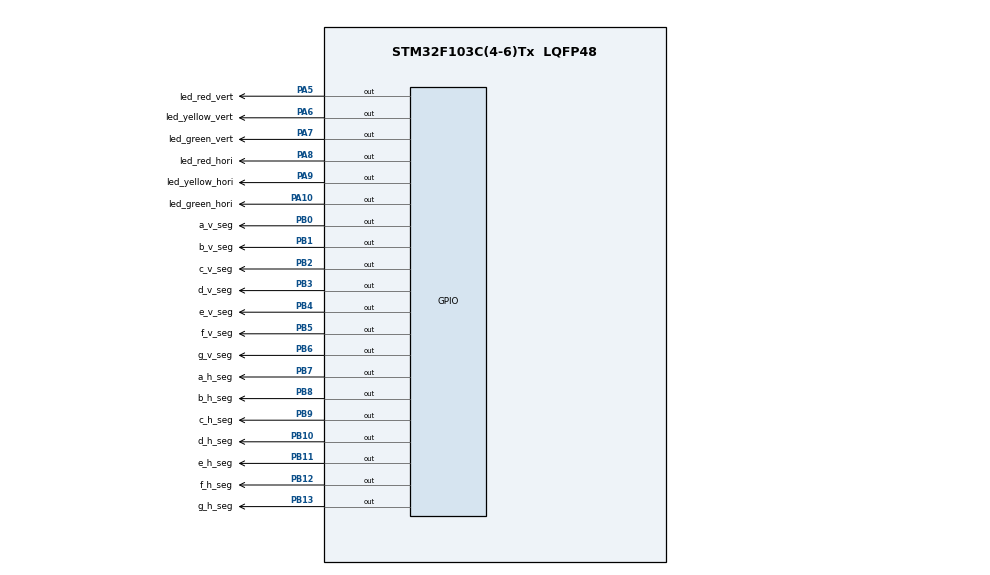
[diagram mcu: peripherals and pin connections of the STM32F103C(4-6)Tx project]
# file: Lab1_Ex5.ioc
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Mcu.Family=STM32F1
Mcu.Name=STM32F103C(4-6)Tx
Mcu.Package=LQFP48
NVIC.PriorityGroup=NVIC_PRIORITYGROUP_4
PA10.GPIO_Label=led_green_hori
PA10.Signal=GPIO_Output
PA5.GPIO_Label=led_red_vert
PA5.Signal=GPIO_Output
PA6.GPIO_Label=led_yellow_vert
PA6.Signal=GPIO_Output
PA7.GPIO_Label=led_green_vert
PA7.Signal=GPIO_Output
PA8.GPIO_Label=led_red_hori
PA8.Signal=GPIO_Output
PA9.GPIO_Label=led_yellow_hori
PA9.Signal=GPIO_Output
PB0.GPIO_Label=a_v_seg
PB0.Signal=GPIO_Output
PB1.GPIO_Label=b_v_seg
PB1.Signal=GPIO_Output
PB10.GPIO_Label=d_h_seg
PB10.Signal=GPIO_Output
PB11.GPIO_Label=e_h_seg
PB11.Signal=GPIO_Output
PB12.GPIO_Label=f_h_seg
PB12.Signal=GPIO_Output
PB13.GPIO_Label=g_h_seg
PB13.Signal=GPIO_Output
PB2.GPIO_Label=c_v_seg
PB2.Signal=GPIO_Output
PB3.GPIO_Label=d_v_seg
PB3.Signal=GPIO_Output
PB4.GPIO_Label=e_v_seg
PB4.Signal=GPIO_Output
PB5.GPIO_Label=f_v_seg
PB5.Signal=GPIO_Output
PB6.GPIO_Label=g_v_seg
PB6.Signal=GPIO_Output
PB7.GPIO_Label=a_h_seg
PB7.Signal=GPIO_Output
PB8.GPIO_Label=b_h_seg
PB8.Signal=GPIO_Output
PB9.GPIO_Label=c_h_seg
PB9.Signal=GPIO_Output
ProjectManager.HeapSize=0x200
ProjectManager.StackSize=0x400
ProjectManager.TargetToolchain=STM32CubeIDE
RCC.APB1Freq_Value=8000000
RCC.APB2Freq_Value=8000000
VP_SYS_VS_ND.Mode=No_Debug
board=custom

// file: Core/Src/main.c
/* USER CODE BEGIN Header */
/**
  ******************************************************************************
  * @file           : main.c
  * @brief          : Main program body
  ******************************************************************************
  * @attention
  *
  * <h2><center>&copy; Copyright (c) 2022 STMicroelectronics.
  * All rights reserved.</center></h2>
  *
  * This software component is licensed by ST under BSD 3-Clause license,
  * the "License"; You may not use this file except in compliance with the
  * License. You may obtain a copy of the License at:
  *                        opensource.org/licenses/BSD-3-Clause
  *
  ******************************************************************************
  */
/* USER CODE END Header */
#include "main.h"

void SystemClock_Config(void);
static void MX_GPIO_Init(void);
/* USER CODE BEGIN PFP */

void display7SEG(int num,
		GPIO_TypeDef* a_seg_GPIO_PORT, uint16_t a_seg_Pin,
		GPIO_TypeDef* b_seg_GPIO_PORT, uint16_t b_seg_Pin,
		GPIO_TypeDef* c_seg_GPIO_PORT, uint16_t c_seg_Pin,
		GPIO_TypeDef* d_seg_GPIO_PORT, uint16_t d_seg_Pin,
		GPIO_TypeDef* e_seg_GPIO_PORT, uint16_t e_seg_Pin,
		GPIO_TypeDef* f_seg_GPIO_PORT, uint16_t f_seg_Pin,
		GPIO_TypeDef* g_seg_GPIO_PORT, uint16_t g_seg_Pin);
char led_toggle(
		GPIO_TypeDef* red, uint16_t red_pin ,
		GPIO_TypeDef* yellow, uint16_t yellow_pin,
		GPIO_TypeDef* green, uint16_t green_pin,
		char color);

/* USER CODE END PFP */

int main(void)
{

  /* MCU Configuration--------------------------------------------------------*/

  /* Reset of all peripherals, Initializes the Flash interface and the Systick. */
  HAL_Init();

  /* Configure the system clock */
  SystemClock_Config();

  /* Initialize all configured peripherals */
  MX_GPIO_Init();

  /* Infinite loop */
  /* USER CODE BEGIN WHILE */
  int first_time_counter = 1;
  int counter_x = 0;
  int counter_y = 0;
  char color_x;
  char color_y;
  int first_time_light = 1;
  while (1)
  {
	  //Counter set
	  if(first_time_counter == 1)
	  {
		  counter_x = 9;
		  display7SEG(counter_y--,
				  a_v_seg_GPIO_Port, a_v_seg_Pin,
				  b_v_seg_GPIO_Port, b_v_seg_Pin,
				  c_v_seg_GPIO_Port, c_v_seg_Pin,
				  d_v_seg_GPIO_Port, d_v_seg_Pin,
				  e_v_seg_GPIO_Port, e_v_seg_Pin,
				  f_v_seg_GPIO_Port, f_v_seg_Pin,
				  g_v_seg_GPIO_Port, g_v_seg_Pin
				  );

		  counter_y = 6;
		  display7SEG(counter_x--,
				  a_h_seg_GPIO_Port, a_h_seg_Pin,
				  b_h_seg_GPIO_Port, b_h_seg_Pin,
				  c_h_seg_GPIO_Port, c_h_seg_Pin,
				  d_h_seg_GPIO_Port, d_h_seg_Pin,
				  e_h_seg_GPIO_Port, e_h_seg_Pin,
				  f_h_seg_GPIO_Port, f_h_seg_Pin,
				  g_h_seg_GPIO_Port, g_h_seg_Pin
				  );
		  first_time_counter = 0;
	  }
	  //Light
	  if(first_time_light == 1)
	  {
		  HAL_GPIO_TogglePin(led_yellow_vert_GPIO_Port, led_yellow_vert_Pin);
		  HAL_GPIO_TogglePin(led_green_vert_GPIO_Port, led_green_vert_Pin);
		  color_y = 'R';

		  HAL_GPIO_TogglePin(led_yellow_hori_GPIO_Port, led_yellow_hori_Pin);
		  HAL_GPIO_TogglePin(led_red_hori_GPIO_Port, led_red_hori_Pin);
		  color_x = 'G';

		  first_time_light = 0;
	  }
	  if(color_y == 'R')
	  {
		  counter_y = 9;
		  counter_x = 6;
		  for (int i = 0; i < 7; i++)
		  {
			  display7SEG(counter_y--,
					  a_v_seg_GPIO_Port, a_v_seg_Pin,
					  b_v_seg_GPIO_Port, b_v_seg_Pin,
					  c_v_seg_GPIO_Port, c_v_seg_Pin,
					  d_v_seg_GPIO_Port, d_v_seg_Pin,
					  e_v_seg_GPIO_Port, e_v_seg_Pin,
					  f_v_seg_GPIO_Port, f_v_seg_Pin,
					  g_v_seg_GPIO_Port, g_v_seg_Pin
					  );
			  display7SEG(counter_x--,
					  a_h_seg_GPIO_Port, a_h_seg_Pin,
					  b_h_seg_GPIO_Port, b_h_seg_Pin,
					  c_h_seg_GPIO_Port, c_h_seg_Pin,
					  d_h_seg_GPIO_Port, d_h_seg_Pin,
					  e_h_seg_GPIO_Port, e_h_seg_Pin,
					  f_h_seg_GPIO_Port, f_h_seg_Pin,
					  g_h_seg_GPIO_Port, g_h_seg_Pin
					  );
			  HAL_Delay(1000);
		  }
		  color_x = led_toggle(
				  led_red_hori_GPIO_Port, led_red_hori_Pin,
				  led_yellow_hori_GPIO_Port, led_yellow_hori_Pin,
				  led_green_hori_GPIO_Port, led_green_hori_Pin,
				  color_x);
		  counter_x = 2;
		  for (int i = 0; i < 3; i++)
		  {
			  display7SEG(counter_y--,
					  a_v_seg_GPIO_Port, a_v_seg_Pin,
					  b_v_seg_GPIO_Port, b_v_seg_Pin,
					  c_v_seg_GPIO_Port, c_v_seg_Pin,
					  d_v_seg_GPIO_Port, d_v_seg_Pin,
					  e_v_seg_GPIO_Port, e_v_seg_Pin,
					  f_v_seg_GPIO_Port, f_v_seg_Pin,
					  g_v_seg_GPIO_Port, g_v_seg_Pin
					  );
			  display7SEG(counter_x--,
					  a_h_seg_GPIO_Port, a_h_seg_Pin,
					  b_h_seg_GPIO_Port, b_h_seg_Pin,
					  c_h_seg_GPIO_Port, c_h_seg_Pin,
					  d_h_seg_GPIO_Port, d_h_seg_Pin,
					  e_h_seg_GPIO_Port, e_h_seg_Pin,
					  f_h_seg_GPIO_Port, f_h_seg_Pin,
					  g_h_seg_GPIO_Port, g_h_seg_Pin
					  );
			  HAL_Delay(1000);
		  }
		  color_x = led_toggle(
				  led_red_hori_GPIO_Port, led_red_hori_Pin,
				  led_yellow_hori_GPIO_Port, led_yellow_hori_Pin,
				  led_green_hori_GPIO_Port, led_green_hori_Pin,
				  color_x);
		  color_y = led_toggle(
				  led_red_vert_GPIO_Port, led_red_vert_Pin,
				  led_yellow_vert_GPIO_Port, led_yellow_vert_Pin,
				  led_green_vert_GPIO_Port, led_green_vert_Pin,
				  color_y);
	  }
	  else if (color_x == 'R')
	  {
		  counter_x = 9;
		  counter_y = 6;
		  for (int i = 0; i < 7; i++)
		  {
			  display7SEG(counter_y--,
					  a_v_seg_GPIO_Port, a_v_seg_Pin,
					  b_v_seg_GPIO_Port, b_v_seg_Pin,
					  c_v_seg_GPIO_Port, c_v_seg_Pin,
					  d_v_seg_GPIO_Port, d_v_seg_Pin,
					  e_v_seg_GPIO_Port, e_v_seg_Pin,
					  f_v_seg_GPIO_Port, f_v_seg_Pin,
					  g_v_seg_GPIO_Port, g_v_seg_Pin
					  );
			  display7SEG(counter_x--,
					  a_h_seg_GPIO_Port, a_h_seg_Pin,
					  b_h_seg_GPIO_Port, b_h_seg_Pin,
					  c_h_seg_GPIO_Port, c_h_seg_Pin,
					  d_h_seg_GPIO_Port, d_h_seg_Pin,
					  e_h_seg_GPIO_Port, e_h_seg_Pin,
					  f_h_seg_GPIO_Port, f_h_seg_Pin,
					  g_h_seg_GPIO_Port, g_h_seg_Pin
					  );
			  HAL_Delay(1000);
		  }
		  color_y = led_toggle(
				  led_red_vert_GPIO_Port, led_red_vert_Pin,
				  led_yellow_vert_GPIO_Port, led_yellow_vert_Pin,
				  led_green_vert_GPIO_Port, led_green_vert_Pin,
				  color_y);
		  counter_y = 2;
		  for (int i = 0; i < 3; i++)
		  {
			  display7SEG(counter_y--,
					  a_v_seg_GPIO_Port, a_v_seg_Pin,
					  b_v_seg_GPIO_Port, b_v_seg_Pin,
					  c_v_seg_GPIO_Port, c_v_seg_Pin,
					  d_v_seg_GPIO_Port, d_v_seg_Pin,
					  e_v_seg_GPIO_Port, e_v_seg_Pin,
					  f_v_seg_GPIO_Port, f_v_seg_Pin,
					  g_v_seg_GPIO_Port, g_v_seg_Pin
					  );
			  display7SEG(counter_x--,
					  a_h_seg_GPIO_Port, a_h_seg_Pin,
					  b_h_seg_GPIO_Port, b_h_seg_Pin,
					  c_h_seg_GPIO_Port, c_h_seg_Pin,
					  d_h_seg_GPIO_Port, d_h_seg_Pin,
					  e_h_seg_GPIO_Port, e_h_seg_Pin,
					  f_h_seg_GPIO_Port, f_h_seg_Pin,
					  g_h_seg_GPIO_Port, g_h_seg_Pin
					  );
			  HAL_Delay(1000);
		  }
		  color_y = led_toggle(
				  led_red_vert_GPIO_Port, led_red_vert_Pin,
				  led_yellow_vert_GPIO_Port, led_yellow_vert_Pin,
				  led_green_vert_GPIO_Port, led_green_vert_Pin,
				  color_y);
		  color_x = led_toggle(
				  led_red_hori_GPIO_Port, led_red_hori_Pin,
				  led_yellow_hori_GPIO_Port, led_yellow_hori_Pin,
				  led_green_hori_GPIO_Port, led_green_hori_Pin,
				  color_x);
	  }

    /* USER CODE END WHILE */

  }
}

void SystemClock_Config(void)
{
  RCC_OscInitTypeDef RCC_OscInitStruct = {0};
  RCC_ClkInitTypeDef RCC_ClkInitStruct = {0};

  /** Initializes the RCC Oscillators according to the specified parameters
  * in the RCC_OscInitTypeDef structure.
  */
  RCC_OscInitStruct.OscillatorType = RCC_OSCILLATORTYPE_HSI;
  RCC_OscInitStruct.HSIState = RCC_HSI_ON;
  RCC_OscInitStruct.HSICalibrationValue = RCC_HSICALIBRATION_DEFAULT;
  RCC_OscInitStruct.PLL.PLLState = RCC_PLL_NONE;
  if (HAL_RCC_OscConfig(&RCC_OscInitStruct) != HAL_OK)
  {
    Error_Handler();
  }
  /** Initializes the CPU, AHB and APB buses clocks
  */
  RCC_ClkInitStruct.ClockType = RCC_CLOCKTYPE_HCLK|RCC_CLOCKTYPE_SYSCLK
                              |RCC_CLOCKTYPE_PCLK1|RCC_CLOCKTYPE_PCLK2;
  RCC_ClkInitStruct.SYSCLKSource = RCC_SYSCLKSOURCE_HSI;
  RCC_ClkInitStruct.AHBCLKDivider = RCC_SYSCLK_DIV1;
  RCC_ClkInitStruct.APB1CLKDivider = RCC_HCLK_DIV1;
  RCC_ClkInitStruct.APB2CLKDivider = RCC_HCLK_DIV1;

  if (HAL_RCC_ClockConfig(&RCC_ClkInitStruct, FLASH_LATENCY_0) != HAL_OK)
  {
    Error_Handler();
  }
}

static void MX_GPIO_Init(void)
{
  GPIO_InitTypeDef GPIO_InitStruct = {0};

  /* GPIO Ports Clock Enable */
  __HAL_RCC_GPIOA_CLK_ENABLE();
  __HAL_RCC_GPIOB_CLK_ENABLE();

  /*Configure GPIO pin Output Level */
  HAL_GPIO_WritePin(GPIOA, led_red_vert_Pin|led_yellow_vert_Pin|led_green_vert_Pin|led_red_hori_Pin
                          |led_yellow_hori_Pin|led_green_hori_Pin, GPIO_PIN_RESET);

  /*Configure GPIO pin Output Level */
  HAL_GPIO_WritePin(GPIOB, a_v_seg_Pin|b_v_seg_Pin|c_v_seg_Pin|d_h_seg_Pin
                          |e_h_seg_Pin|f_h_seg_Pin|g_h_seg_Pin|d_v_seg_Pin
                          |e_v_seg_Pin|f_v_seg_Pin|g_v_seg_Pin|a_h_seg_Pin
                          |b_h_seg_Pin|c_h_seg_Pin, GPIO_PIN_RESET);

  /*Configure GPIO pins : led_red_vert_Pin led_yellow_vert_Pin led_green_vert_Pin led_red_hori_Pin
                           led_yellow_hori_Pin led_green_hori_Pin */
  GPIO_InitStruct.Pin = led_red_vert_Pin|led_yellow_vert_Pin|led_green_vert_Pin|led_red_hori_Pin
                          |led_yellow_hori_Pin|led_green_hori_Pin;
  GPIO_InitStruct.Mode = GPIO_MODE_OUTPUT_PP;
  GPIO_InitStruct.Pull = GPIO_NOPULL;
  GPIO_InitStruct.Speed = GPIO_SPEED_FREQ_LOW;
  HAL_GPIO_Init(GPIOA, &GPIO_InitStruct);

  /*Configure GPIO pins : a_v_seg_Pin b_v_seg_Pin c_v_seg_Pin d_h_seg_Pin
                           e_h_seg_Pin f_h_seg_Pin g_h_seg_Pin d_v_seg_Pin
                           e_v_seg_Pin f_v_seg_Pin g_v_seg_Pin a_h_seg_Pin
                           b_h_seg_Pin c_h_seg_Pin */
  GPIO_InitStruct.Pin = a_v_seg_Pin|b_v_seg_Pin|c_v_seg_Pin|d_h_seg_Pin
                          |e_h_seg_Pin|f_h_seg_Pin|g_h_seg_Pin|d_v_seg_Pin
                          |e_v_seg_Pin|f_v_seg_Pin|g_v_seg_Pin|a_h_seg_Pin
                          |b_h_seg_Pin|c_h_seg_Pin;
  GPIO_InitStruct.Mode = GPIO_MODE_OUTPUT_PP;
  GPIO_InitStruct.Pull = GPIO_NOPULL;
  GPIO_InitStruct.Speed = GPIO_SPEED_FREQ_LOW;
  HAL_GPIO_Init(GPIOB, &GPIO_InitStruct);

}

/* USER CODE BEGIN 4 */

void display7SEG(int num,
		GPIO_TypeDef* a_seg_GPIO_Port, uint16_t a_seg_Pin,
		GPIO_TypeDef* b_seg_GPIO_Port, uint16_t b_seg_Pin,
		GPIO_TypeDef* c_seg_GPIO_Port, uint16_t c_seg_Pin,
		GPIO_TypeDef* d_seg_GPIO_Port, uint16_t d_seg_Pin,
		GPIO_TypeDef* e_seg_GPIO_Port, uint16_t e_seg_Pin,
		GPIO_TypeDef* f_seg_GPIO_Port, uint16_t f_seg_Pin,
		GPIO_TypeDef* g_seg_GPIO_Port, uint16_t g_seg_Pin)
{
	switch (num) {
		case 0:
			HAL_GPIO_WritePin(a_seg_GPIO_Port, a_seg_Pin, RESET);
			HAL_GPIO_WritePin(b_seg_GPIO_Port, b_seg_Pin, RESET);
			HAL_GPIO_WritePin(c_seg_GPIO_Port, c_seg_Pin, RESET);
			HAL_GPIO_WritePin(d_seg_GPIO_Port, d_seg_Pin, RESET);
			HAL_GPIO_WritePin(e_seg_GPIO_Port, e_seg_Pin, RESET);
			HAL_GPIO_WritePin(f_seg_GPIO_Port, f_seg_Pin, RESET);
			HAL_GPIO_WritePin(g_seg_GPIO_Port, g_seg_Pin, SET);
			break;
		case 1:
			HAL_GPIO_WritePin(a_seg_GPIO_Port, a_seg_Pin, SET);
			HAL_GPIO_WritePin(b_seg_GPIO_Port, b_seg_Pin, RESET);
			HAL_GPIO_WritePin(c_seg_GPIO_Port, c_seg_Pin, RESET);
			HAL_GPIO_WritePin(d_seg_GPIO_Port, d_seg_Pin, SET);
			HAL_GPIO_WritePin(e_seg_GPIO_Port, e_seg_Pin, SET);
			HAL_GPIO_WritePin(f_seg_GPIO_Port, f_seg_Pin, SET);
			HAL_GPIO_WritePin(g_seg_GPIO_Port, g_seg_Pin, SET);
			break;
		case 2:
			HAL_GPIO_WritePin(a_seg_GPIO_Port, a_seg_Pin, RESET);
			HAL_GPIO_WritePin(b_seg_GPIO_Port, b_seg_Pin, RESET);
			HAL_GPIO_WritePin(c_seg_GPIO_Port, c_seg_Pin, SET);
			HAL_GPIO_WritePin(d_seg_GPIO_Port, d_seg_Pin, RESET);
			HAL_GPIO_WritePin(e_seg_GPIO_Port, e_seg_Pin, RESET);
			HAL_GPIO_WritePin(f_seg_GPIO_Port, f_seg_Pin, SET);
			HAL_GPIO_WritePin(g_seg_GPIO_Port, g_seg_Pin, RESET);
			break;
		case 3:
			HAL_GPIO_WritePin(a_seg_GPIO_Port, a_seg_Pin, RESET);
			HAL_GPIO_WritePin(b_seg_GPIO_Port, b_seg_Pin, RESET);
			HAL_GPIO_WritePin(c_seg_GPIO_Port, c_seg_Pin, RESET);
			HAL_GPIO_WritePin(d_seg_GPIO_Port, d_seg_Pin, RESET);
			HAL_GPIO_WritePin(e_seg_GPIO_Port, e_seg_Pin, SET);
			HAL_GPIO_WritePin(f_seg_GPIO_Port, f_seg_Pin, SET);
			HAL_GPIO_WritePin(g_seg_GPIO_Port, g_seg_Pin, RESET);
			break;
		case 4:
			HAL_GPIO_WritePin(a_seg_GPIO_Port, a_seg_Pin, SET);
			HAL_GPIO_WritePin(b_seg_GPIO_Port, b_seg_Pin, RESET);
			HAL_GPIO_WritePin(c_seg_GPIO_Port, c_seg_Pin, RESET);
			HAL_GPIO_WritePin(d_seg_GPIO_Port, d_seg_Pin, SET);
			HAL_GPIO_WritePin(e_seg_GPIO_Port, e_seg_Pin, SET);
			HAL_GPIO_WritePin(f_seg_GPIO_Port, f_seg_Pin, RESET);
			HAL_GPIO_WritePin(g_seg_GPIO_Port, g_seg_Pin, RESET);
			break;
		case 5:
			HAL_GPIO_WritePin(a_seg_GPIO_Port, a_seg_Pin, RESET);
			HAL_GPIO_WritePin(b_seg_GPIO_Port, b_seg_Pin, SET);
			HAL_GPIO_WritePin(c_seg_GPIO_Port, c_seg_Pin, RESET);
			HAL_GPIO_WritePin(d_seg_GPIO_Port, d_seg_Pin, RESET);
			HAL_GPIO_WritePin(e_seg_GPIO_Port, e_seg_Pin, SET);
			HAL_GPIO_WritePin(f_seg_GPIO_Port, f_seg_Pin, RESET);
			HAL_GPIO_WritePin(g_seg_GPIO_Port, g_seg_Pin, RESET);
			break;
		case 6:
			HAL_GPIO_WritePin(a_seg_GPIO_Port, a_seg_Pin, RESET);
			HAL_GPIO_WritePin(b_seg_GPIO_Port, b_seg_Pin, SET);
			HAL_GPIO_WritePin(c_seg_GPIO_Port, c_seg_Pin, RESET);
			HAL_GPIO_WritePin(d_seg_GPIO_Port, d_seg_Pin, RESET);
			HAL_GPIO_WritePin(e_seg_GPIO_Port, e_seg_Pin, RESET);
			HAL_GPIO_WritePin(f_seg_GPIO_Port, f_seg_Pin, RESET);
			HAL_GPIO_WritePin(g_seg_GPIO_Port, g_seg_Pin, RESET);
			break;
		case 7:
			HAL_GPIO_WritePin(a_seg_GPIO_Port, a_seg_Pin, RESET);
			HAL_GPIO_WritePin(b_seg_GPIO_Port, b_seg_Pin, RESET);
			HAL_GPIO_WritePin(c_seg_GPIO_Port, c_seg_Pin, RESET);
			HAL_GPIO_WritePin(d_seg_GPIO_Port, d_seg_Pin, SET);
			HAL_GPIO_WritePin(e_seg_GPIO_Port, e_seg_Pin, SET);
			HAL_GPIO_WritePin(f_seg_GPIO_Port, f_seg_Pin, SET);
			HAL_GPIO_WritePin(g_seg_GPIO_Port, g_seg_Pin, SET);
			break;
		case 8:
			HAL_GPIO_WritePin(a_seg_GPIO_Port, a_seg_Pin, RESET);
			HAL_GPIO_WritePin(b_seg_GPIO_Port, b_seg_Pin, RESET);
			HAL_GPIO_WritePin(c_seg_GPIO_Port, c_seg_Pin, RESET);
			HAL_GPIO_WritePin(d_seg_GPIO_Port, d_seg_Pin, RESET);
			HAL_GPIO_WritePin(e_seg_GPIO_Port, e_seg_Pin, RESET);
			HAL_GPIO_WritePin(f_seg_GPIO_Port, f_seg_Pin, RESET);
			HAL_GPIO_WritePin(g_seg_GPIO_Port, g_seg_Pin, RESET);
			break;
		case 9:
			HAL_GPIO_WritePin(a_seg_GPIO_Port, a_seg_Pin, RESET);
			HAL_GPIO_WritePin(b_seg_GPIO_Port, b_seg_Pin, RESET);
			HAL_GPIO_WritePin(c_seg_GPIO_Port, c_seg_Pin, RESET);
			HAL_GPIO_WritePin(d_seg_GPIO_Port, d_seg_Pin, RESET);
			HAL_GPIO_WritePin(e_seg_GPIO_Port, e_seg_Pin, SET);
			HAL_GPIO_WritePin(f_seg_GPIO_Port, f_seg_Pin, RESET);
			HAL_GPIO_WritePin(g_seg_GPIO_Port, g_seg_Pin, RESET);
			break;
		default:
			break;
	}
}

char led_toggle(GPIO_TypeDef* red, uint16_t red_pin , GPIO_TypeDef* yellow, uint16_t yellow_pin, GPIO_TypeDef* green, uint16_t green_pin, char color)
{
	  if(color == 'R')
	  {
		  HAL_GPIO_TogglePin(red, red_pin);
		  HAL_GPIO_TogglePin(green, green_pin);
		  color = 'G';
	  }
	  else if (color == 'Y')
	  {
		  HAL_GPIO_TogglePin(yellow, yellow_pin);
		  HAL_GPIO_TogglePin(red, red_pin);
		  color = 'R';
	  }
	  else if (color == 'G')
	  {
		  HAL_GPIO_TogglePin(green, green_pin);
		  HAL_GPIO_TogglePin(yellow, yellow_pin);
		  color = 'Y';
	  }
	  return color;
}

/* USER CODE END 4 */

void Error_Handler(void)
{
  __disable_irq();
  while (1)
  {
  }
}

/************************ (C) COPYRIGHT STMicroelectronics *****END OF FILE****/
